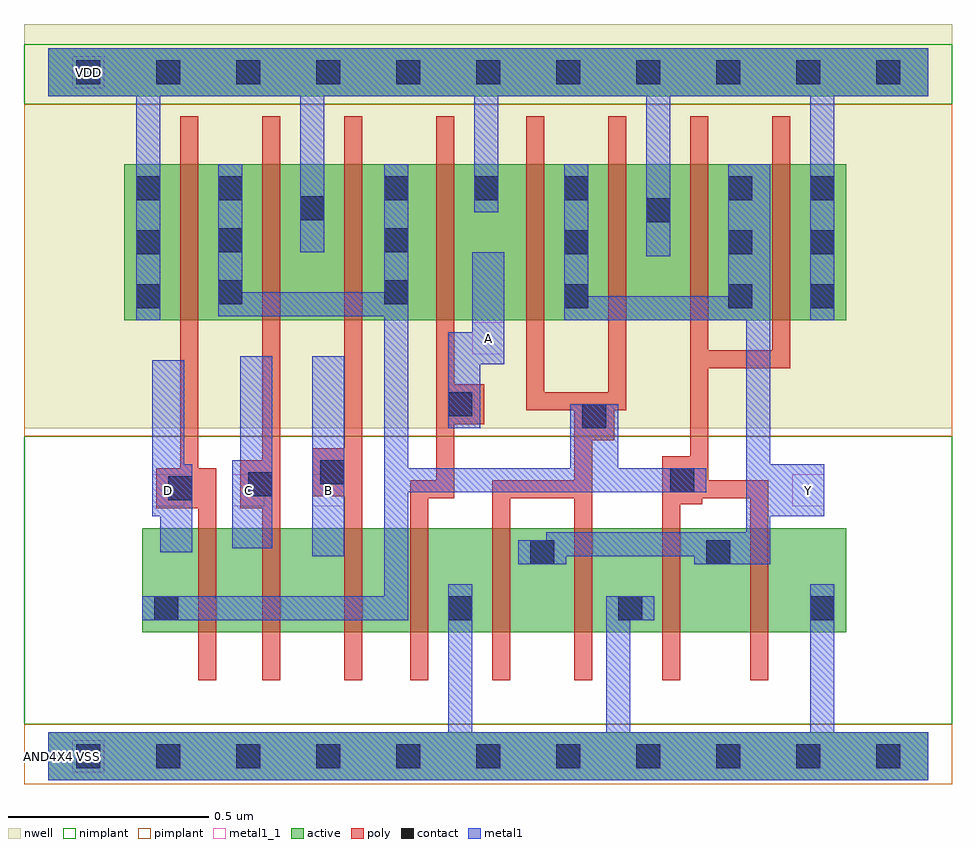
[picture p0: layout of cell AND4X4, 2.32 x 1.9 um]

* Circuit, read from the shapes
.subckt AND4X4 A B C D VDD VSS Y
M1 n1 D n2 VSS nfet w=0.26u l=0.045u
M2 n3 C n1 VSS nfet w=0.26u l=0.045u
M3 n4 B n3 VSS nfet w=0.26u l=0.045u
M4 VSS A n4 VSS nfet w=0.26u l=0.045u
M5 Y n2 VSS VSS nfet w=0.26u l=0.045u m=4
M6 n2 D VDD VDD pfet w=0.39u l=0.045u
M7 VDD C n2 VDD pfet w=0.39u l=0.045u
M8 n2 B VDD VDD pfet w=0.39u l=0.045u
M9 VDD A n2 VDD pfet w=0.39u l=0.045u
M10 Y n2 VDD VDD pfet w=0.39u l=0.045u m=4
.ends

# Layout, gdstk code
import gdstk
lib = gdstk.Library(unit=1e-6, precision=5e-10)
def R(c, l, rs):  # rectangles x0, y0, x1, y1
    for r in rs: c.add(gdstk.rectangle(r[:2], r[2:], *l))
def A(c, l, x, y, w, h, nx, ny, dx, dy):  # array of equal rectangles
    R(c, l, [(x+i*dx, y+j*dy, x+i*dx+w, y+j*dy+h) for i in range(nx) for j in range(ny)])
def P(c, l, *ps):  # polygons
    for p in ps: c.add(gdstk.Polygon(p, *l))
active = (1, 0)
nwell = (2, 0)
poly = (3, 0)
nimplant = (4, 0)
pimplant = (5, 0)
contact = (6, 0)
metal1 = (7, 0)
metal1_1 = (7, 1)

and4x4 = lib.new_cell('AND4X4')
R(and4x4, active, [(0,-0.06,2.2,0.06), (0.235,0.31,1.995,0.57), (0.19,1.09,1.995,1.48), (0,1.65,2.2,1.77)])
R(and4x4, nwell, [(-0.06,0.82,2.26,1.83)])
P(and4x4, poly, [(0.33,1.6),(0.375,1.6),(0.375,0.72),(0.42,0.72),(0.42,0.19),(0.375,0.19),(0.375,0.62),(0.27,0.62),(0.27,0.72),(0.33,0.72)],
  [(0.535,1.6),(0.58,1.6),(0.58,0.19),(0.535,0.19),(0.535,0.62),(0.48,0.62),(0.48,0.74),(0.535,0.74)],
  [(0.74,1.6),(0.785,1.6),(0.785,0.19),(0.74,0.19),(0.74,0.65),(0.66,0.65),(0.66,0.77),(0.74,0.77)],
  [(0.97,1.6),(1.015,1.6),(1.015,0.93),(1.09,0.93),(1.09,0.83),(1.015,0.83),(1.015,0.645),(0.95,0.645),(0.95,0.19),(0.905,0.19),(0.905,0.69),(0.97,0.69)],
  [(1.195,1.6),(1.24,1.6),(1.24,0.91),(1.4,0.91),(1.4,1.6),(1.445,1.6),(1.445,0.865),(1.415,0.865),(1.415,0.79),(1.36,0.79),(1.36,0.19),(1.315,0.19),(1.315,0.645),(1.155,0.645),(1.155,0.19),(1.11,0.19),(1.11,0.69),(1.315,0.69),(1.315,0.865),(1.195,0.865)],
  [(1.605,1.6),(1.65,1.6),(1.65,1.015),(1.81,1.015),(1.81,1.6),(1.855,1.6),(1.855,0.97),(1.65,0.97),(1.65,0.69),(1.8,0.69),(1.8,0.19),(1.755,0.19),(1.755,0.645),(1.635,0.645),(1.635,0.63),(1.58,0.63),(1.58,0.19),(1.535,0.19),(1.535,0.75),(1.605,0.75)])
R(and4x4, nimplant, [(-0.06,0.08,2.26,0.8), (-0.06,1.63,2.26,1.78)])
R(and4x4, pimplant, [(-0.06,-0.07,2.26,0.08), (-0.06,0.8,2.26,1.63)])
A(and4x4, contact, 0.07, -0.03, 0.06, 0.06, 11, 2, 0.2, 1.71)
A(and4x4, contact, 0.22, 1.12, 0.06, 0.06, 1, 3, 0, 0.135)
A(and4x4, contact, 1.7, 1.12, 0.06, 0.06, 1, 3, 0, 0.135)
A(and4x4, contact, 1.905, 1.12, 0.06, 0.06, 1, 3, 0, 0.135)
A(and4x4, contact, 0.425, 1.13, 0.06, 0.06, 1, 3, 0, 0.13)
A(and4x4, contact, 0.84, 1.39, 0.06, 0.06, 3, 1, 0.225, 0)
R(and4x4, contact, [(0.265,0.34,0.325,0.4), (1,0.34,1.06,0.4), (1.425,0.34,1.485,0.4), (1.905,0.34,1.965,0.4), (1.205,0.48,1.265,0.54), (1.645,0.48,1.705,0.54), (0.3,0.64,0.36,0.7), (0.5,0.65,0.56,0.71), (1.555,0.66,1.615,0.72), (0.68,0.68,0.74,0.74), (1.335,0.82,1.395,0.88), (1,0.85,1.06,0.91), (1.29,1.12,1.35,1.18), (0.84,1.13,0.9,1.19), (1.29,1.255,1.35,1.315), (0.84,1.26,0.9,1.32), (1.495,1.335,1.555,1.395), (0.63,1.34,0.69,1.4)])
R(and4x4, metal1, [(0.66,0.5,0.74,1)])
P(and4x4, metal1, [(0,1.77),(2.2,1.77),(2.2,1.65),(1.965,1.65),(1.965,1.09),(1.905,1.09),(1.905,1.65),(1.555,1.65),(1.555,1.25),(1.495,1.25),(1.495,1.65),(1.125,1.65),(1.125,1.36),(1.065,1.36),(1.065,1.65),(0.69,1.65),(0.69,1.26),(0.63,1.26),(0.63,1.65),(0.28,1.65),(0.28,1.09),(0.22,1.09),(0.22,1.65),(0,1.65)],
  [(0.425,1.48),(0.485,1.48),(0.485,1.16),(0.84,1.16),(0.84,1.48),(0.9,1.48),(0.9,0.72),(1.305,0.72),(1.305,0.88),(1.425,0.88),(1.425,0.72),(1.645,0.72),(1.645,0.66),(0.9,0.66),(0.9,0.34),(0.235,0.34),(0.235,0.4),(0.84,0.4),(0.84,1.1),(0.425,1.1)],
  [(1.29,1.48),(1.35,1.48),(1.35,1.15),(1.7,1.15),(1.7,1.48),(1.805,1.48),(1.805,0.73),(1.94,0.73),(1.94,0.6),(1.805,0.6),(1.805,0.48),(1.615,0.48),(1.615,0.5),(1.295,0.5),(1.295,0.48),(1.175,0.48),(1.175,0.54),(1.245,0.54),(1.245,0.56),(1.745,0.56),(1.745,1.09),(1.29,1.09)],
  [(1.06,1.26),(1.14,1.26),(1.14,0.98),(1.08,0.98),(1.08,0.82),(1,0.82),(1,1.06),(1.06,1.06)],
  [(0.48,1),(0.56,1),(0.56,0.52),(0.46,0.52),(0.46,0.74),(0.48,0.74)],
  [(0.26,0.99),(0.34,0.99),(0.34,0.73),(0.36,0.73),(0.36,0.51),(0.28,0.51),(0.28,0.6),(0.26,0.6)],
  [(1,0.43),(1.06,0.43),(1.06,0.06),(1.395,0.06),(1.395,0.4),(1.515,0.4),(1.515,0.34),(1.455,0.34),(1.455,0.06),(1.905,0.06),(1.905,0.43),(1.965,0.43),(1.965,0.06),(2.2,0.06),(2.2,-0.06),(0,-0.06),(0,0.06),(1,0.06)])
A(and4x4, metal1_1, 0.26, 0.625, 0.08, 0.08, 3, 1, 0.2, 0)
R(and4x4, metal1_1, [(0.06,-0.04,0.14,0.04), (1.86,0.625,1.94,0.705), (1.06,1.005,1.14,1.085), (0.06,1.67,0.14,1.75)])
and4x4.add(gdstk.Label('Y', (1.9,0.665), layer=7, texttype=1))
and4x4.add(gdstk.Label('A', (1.1,1.045), layer=7, texttype=1))
and4x4.add(gdstk.Label('B', (0.7,0.665), layer=7, texttype=1))
and4x4.add(gdstk.Label('C', (0.5,0.665), layer=7, texttype=1))
and4x4.add(gdstk.Label('D', (0.3,0.665), layer=7, texttype=1))
and4x4.add(gdstk.Label('VDD', (0.1,1.71), layer=7, texttype=1))
and4x4.add(gdstk.Label('VSS', (0.1,0), layer=7, texttype=1))
and4x4.add(gdstk.Label('AND4X4', (0,0), layer=63, texttype=0))

lib.write_gds('AND4X4.gds')
